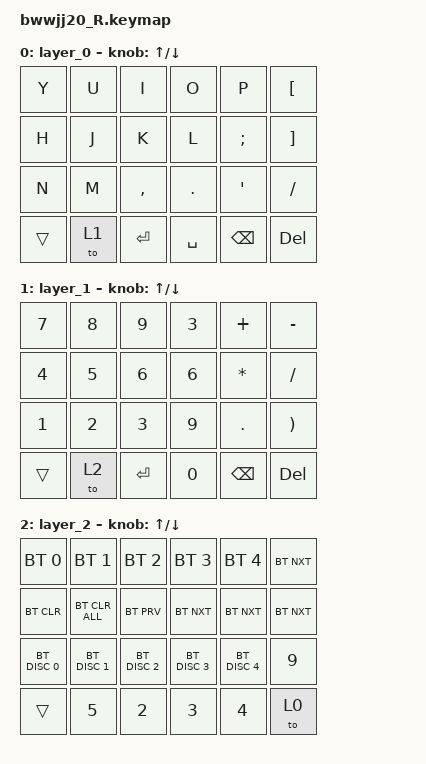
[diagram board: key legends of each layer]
#include <behaviors.dtsi>
#include <dt-bindings/zmk/bt.h>
#include <dt-bindings/zmk/keys.h>
#include <dt-bindings/zmk/pointing.h>
#include <dt-bindings/zmk/outputs.h>

/ {
    behaviors {
        // R编码器的行为
        rot_kp_2: sensor_rotate_kp_2 {
            compatible = "zmk,behavior-sensor-rotate-var";
            #sensor-binding-cells = <2>;
            bindings = <&kp>, <&kp>;
        };
    };

    macros {
        bt_to: bt_to {
            label = "bt_to";
            compatible = "zmk,behavior-macro-two-param";
            #binding-cells = <2>;
            bindings
                = <&bt BT_SEL MACRO_PLACEHOLDER>
                , <&out MACRO_PLACEHOLDER>
                ;
        };

        bt_clr: bt_clr {
            label = "bt_clr";
            compatible = "zmk,behavior-macro";
            #binding-cells = <0>;
            bindings = <&bt BT_CLR>;
        };
    };

    keymap {
        compatible = "zmk,keymap";

        layer_0 {
            bindings = <
                    &kp Y   &kp U      &kp I      &kp O      &kp P     &kp LBKT
                    &kp H   &kp J      &kp K      &kp L      &kp SEMI  &kp RBKT
                    &kp N   &kp M      &kp COMMA  &kp DOT    &kp APOS  &kp FSLH
                    &trans  &to 1      &kp ENTER  &kp SPACE  &kp BKSP  &kp DEL
            >;

            sensor-bindings = <&rot_kp_2 UP DOWN>;
        };

        layer_1 {
            bindings = <
                    &kp N7      &kp N8      &kp N9     &kp N3   &kp PLUS              &kp MINUS
                    &kp N4      &kp N5      &kp N6     &kp N6   &kp ASTERISK          &kp FSLH
                    &kp N1      &kp N2      &kp N3     &kp N9   &kp DOT               &kp RIGHT_PARENTHESIS
                    &trans      &to 2       &kp ENTER  &kp N0   &kp BSPC              &kp DEL
            >;
            sensor-bindings = <&rot_kp_2 UP DOWN>;
        };

        layer_2 {
            bindings = <
&bt BT_SEL 0    &bt BT_SEL 1    &bt BT_SEL 2   &bt BT_SEL 3   &bt BT_SEL 4   &bt BT_NXT
&bt BT_CLR      &bt BT_CLR_ALL  &bt BT_PRV     &bt BT_NXT     &bt BT_NXT     &bt BT_NXT
&bt BT_DISC 0   &bt BT_DISC 1   &bt BT_DISC 2  &bt BT_DISC 3  &bt BT_DISC 4  &kp N9
&trans          &kp N5          &kp N2         &kp N3         &kp N4         &to 0 
            >;

            sensor-bindings = <&rot_kp_2 UP DOWN>;
        };
    };
};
